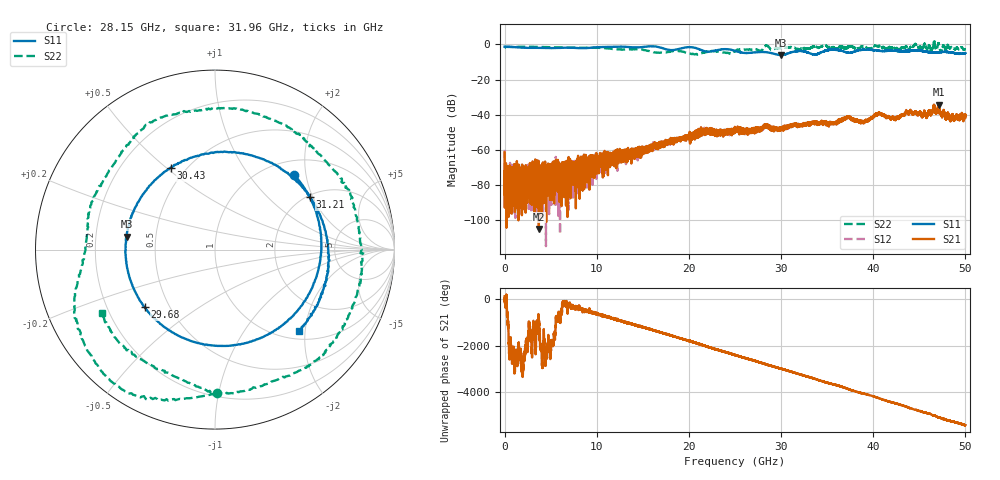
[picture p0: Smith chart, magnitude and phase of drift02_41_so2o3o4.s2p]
!Created with skrf (http://scikit-rf.org).
# Hz S RI R 50.0
!freq ReS11 ImS11 ReS21 ImS21 ReS12 ImS12 ReS22 ImS22
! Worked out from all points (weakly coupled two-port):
!   10001 points, 300 kHz to 50 GHz, reference 50 ohm
!   highest |S21| = -34.27 dB at 47.1 GHz (marker M1); lowest = -105.1 dB at 3.715 GHz (marker M2)
!   lowest |S11| = -6.1 dB at 30.03 GHz (marker M3), VSWR 2.97, Z = 16.9 + j3.27 ohm
!   |S11| at or under -10 dB: nowhere
!   |S22| runs from -5.7 to 2.2 dB; largest |S21 - S12| = 0.0031
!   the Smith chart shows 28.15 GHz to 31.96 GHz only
!   S11 on the Smith chart (normalised r, x): 28.15 GHz: 1.31, +1.72; 29.68 GHz: 0.36, -0.32; 30.43 GHz: 0.41, +0.52; 31.21 GHz: 2.06, +1.90; 31.96 GHz: 1.19, -1.86
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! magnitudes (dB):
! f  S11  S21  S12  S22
! 300 kHz  -1.3  -61.5  -60.1  -2.1
! 280.3 MHz  -1.4  -86.7  -92.8  -1.4
! 3.715 GHz  -2.0  -105.1  -70.2  -1.5
! 6.645 GHz  -1.9  -72.0  -75.3  -1.8
! 8.335 GHz  -2.2  -69.5  -71.8  -1.9
! 16.67 GHz  -1.5  -58.9  -56.7  -4.7
! 21.58 GHz  -3.7  -49.8  -48.8  -4.7
! 25 GHz  -3.7  -48.3  -50.5  -3.9
! 28.15 GHz  -4.4  -47.1  -47.0  -2.0
! 29.68 GHz  -5.9  -48.0  -48.3  -2.1
! 30.03 GHz  -6.1  -47.5  -48.3  -2.0
! 30.43 GHz  -5.7  -47.2  -47.5  -1.8
! 31.21 GHz  -4.4  -46.4  -46.3  -1.8
! 31.96 GHz  -3.7  -45.4  -45.6  -2.8
! 33.34 GHz  -5.5  -45.2  -44.7  -1.6
! 37.27 GHz  -4.7  -41.7  -41.0  -1.2
! 38.89 GHz  -3.0  -44.2  -44.5  -1.4
! 40.56 GHz  -3.6  -39.0  -39.5  -1.0
! 41.67 GHz  -3.6  -41.3  -40.9  -1.9
! 47.1 GHz  -4.6  -34.3  -35.1  0.5
! 48.09 GHz  -4.3  -40.1  -39.9  -0.5
! 50 GHz  -4.9  -40.5  -40.9  -2.7
